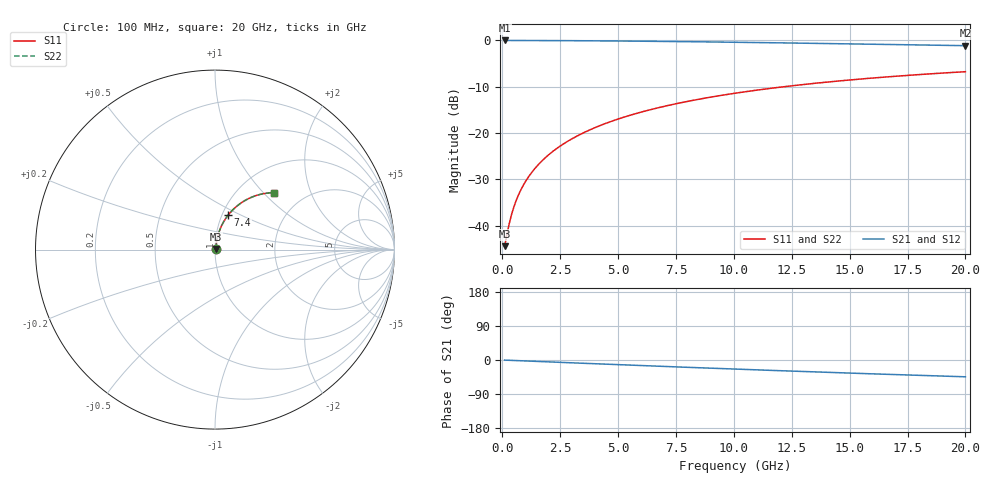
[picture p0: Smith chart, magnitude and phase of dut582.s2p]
! Touchstone file exported from HFSS 2026.1.0
!  File:  C:/ffzhzh/LocalFiles/Ansys_Project_Files/temp_train_TMRDL_582_1783008246_46388.aedt
!  Generated:  12:05:28 AM Jul  3, 2026
!  Design:  TMRDL
!  Project:  temp_train_TMRDL_582_1783008246_46388
! Variables:
!  h_bsmrdl = 2um
!  h_ox = 20um
!  h_rdl = 5um
!  h_sub = 80um
!  h_tmrdl = 3.62um
!  h_tsv = 80um
!  h_via = 3um
!  l_bsmrdl = 300um
!  l_sub = 1026.78um
!  l_tmrdl = 626.78um
!  m_sub = 200um
!  pitch = 38.26um
!  r_tsv = 6um
!  s_tmrdl = 10um
!  w_bsmrdl = 18um
!  w_sub = 500um
!  w_tmrdl = 11.89um
!  x_tsv_center1 = 632.725um
!  x_tsv_center2 = 950.725um
!  x_tsv_center3 = 1589.395um
!  x_tsv_center4 = 1907.395um
!  x_tsv_center5 = 2546.065um
!  x_tsv_center6 = 2864.065um
# GHz S MA R 50.000000
! Terminal data exported
! Port[1] = TM_RDL1_1_T1
! Port[2] = TM_RDL1_1_T2
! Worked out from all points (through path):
!   200 points, 100 MHz to 20 GHz, reference 50 ohm
!   highest |S21| = -0.05 dB at 100 MHz (marker M1); lowest = -1.2 dB at 20 GHz (marker M2)
!   group delay of S21, straight-line fit = 6.17 ps
!   lowest |S11| = -44.4 dB at 100 MHz (marker M3), VSWR 1.01, Z = 50.5 + j0.306 ohm
!   |S11| at or under -10 dB: start of sweep to 12.2 GHz
!   |S22| runs from -44.4 to -6.8 dB; largest |S21 - S12| = 3.4e-15
!   S11 on the Smith chart (normalised r, x): 100 MHz: 1.01, +0.01; 7.4 GHz: 1.07, +0.43; 20 GHz: 1.44, +1.16
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0.1  0.006015 30.2  0.9948 -0.3  0.9948 -0.3  0.006015 30.2
! Gamma 0 0 0 0
! Port Impedance 50 0 50 0
0.3  0.01053 58.6  0.9946 -0.8  0.9946 -0.8  0.01053 58.6
0.4  0.0132 64.5  0.9945 -1.0  0.9945 -1.0  0.0132 64.5
0.5  0.01594 68.2  0.9943 -1.3  0.9943 -1.3  0.01594 68.2
0.6  0.01871 70.8  0.9942 -1.5  0.9942 -1.5  0.01871 70.8
0.8  0.02428 74.0  0.9939 -2.0  0.9939 -2.0  0.02428 74.0
1.1  0.0327 76.6  0.9935 -2.8  0.9935 -2.8  0.0327 76.6
1.3  0.03834 77.5  0.9932 -3.2  0.9932 -3.2  0.03834 77.5
1.6  0.04682 78.3  0.9927 -4.0  0.9927 -4.0  0.04682 78.3
2.1  0.06096 78.7  0.9917 -5.2  0.9917 -5.2  0.06096 78.6
2.7  0.07787 78.3  0.9902 -6.7  0.9902 -6.7  0.07787 78.3
3.5  0.1002 77.2  0.9878 -8.6  0.9878 -8.6  0.1002 77.2
4.2  0.1196 76.0  0.9852 -10.3  0.9852 -10.3  0.1196 76.0
5  0.1414 74.4  0.9818 -12.3  0.9818 -12.3  0.1414 74.4
5.9  0.1654 72.5  0.9774 -14.4  0.9774 -14.4  0.1654 72.5
6.8  0.1888 70.6  0.9725 -16.5  0.9725 -16.5  0.1888 70.6
7.4  0.2041 69.3  0.969 -17.9  0.969 -17.9  0.2041 69.3
8.7  0.2363 66.5  0.9608 -20.9  0.9608 -20.9  0.2363 66.4
10.1  0.2694 63.4  0.9513 -24.1  0.9513 -24.1  0.2694 63.4
13.4  0.3413 56.6  0.9266 -31.2  0.9266 -31.2  0.3413 56.5
16.7  0.4041 50.0  0.9004 -38.0  0.9004 -38.0  0.4041 50.0
20  0.458 43.8  0.874 -44.3  0.874 -44.3  0.458 43.8
